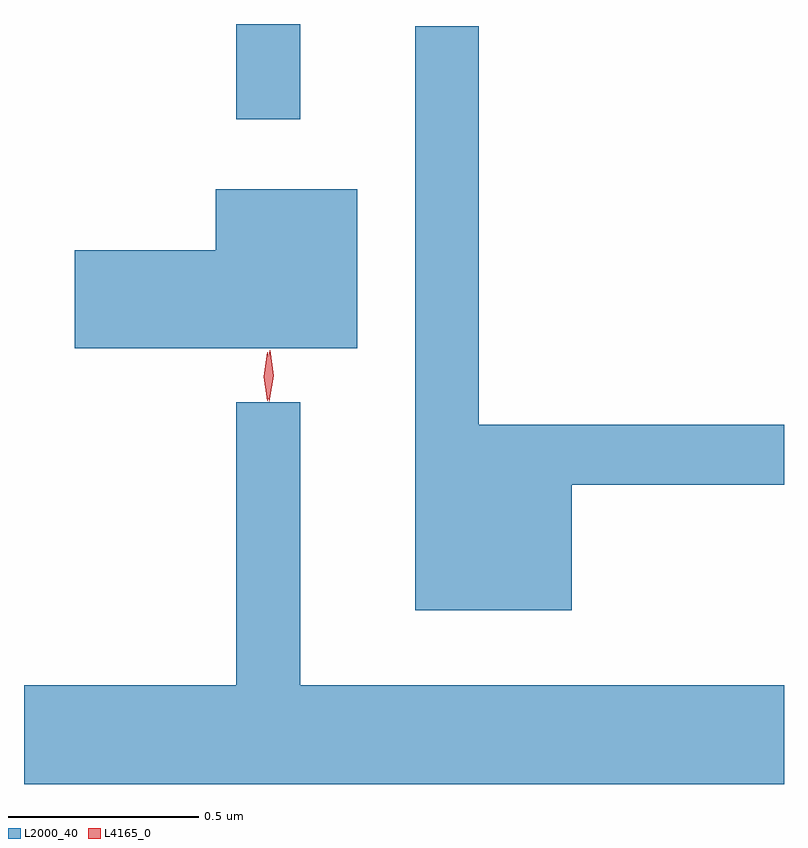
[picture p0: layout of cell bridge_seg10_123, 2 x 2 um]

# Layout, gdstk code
import gdstk
lib = gdstk.Library(unit=1e-6, precision=1e-09)
def R(c, l, rs):  # rectangles x0, y0, x1, y1
    for r in rs: c.add(gdstk.rectangle(r[:2], r[2:], *l))
def P(c, l, *ps):  # polygons
    for p in ps: c.add(gdstk.Polygon(p, *l))
L2000_40 = (2000, 40)
L4165_0 = (4165, 0)

bridge_seg10_123 = lib.new_cell('bridge_seg10_123')
R(bridge_seg10_123, L2000_40, [(1566.221,2097.913,1566.389,2098.164)])
P(bridge_seg10_123, L2000_40, [(1567.104,2096.951),(1567.662,2096.951),(1567.662,2097.109),(1566.859,2097.109),(1566.859,2098.158),(1566.691,2098.158),(1566.691,2096.621),(1567.104,2096.621)],
  [(1566.539,2097.729),(1566.166,2097.729),(1566.166,2097.569),(1565.796,2097.569),(1565.796,2097.311),(1566.539,2097.311)],
  [(1567.662,2096.424),(1566.389,2096.424),(1566.389,2097.168),(1566.221,2097.168),(1566.221,2096.424),(1565.662,2096.424),(1565.662,2096.164),(1567.662,2096.164)])
P(bridge_seg10_123, L4165_0, [(1566.302,2097.173),(1566.293,2097.236),(1566.302,2097.3),(1566.303,2097.3),(1566.303,2097.3),(1566.313,2097.236),(1566.303,2097.173),(1566.303,2097.173)],
  [(1566.308,2097.17),(1566.308,2097.17),(1566.299,2097.238),(1566.309,2097.305),(1566.31,2097.306),(1566.31,2097.305),(1566.319,2097.238),(1566.308,2097.17)])

lib.write_gds('bridge_seg10_123.gds')
